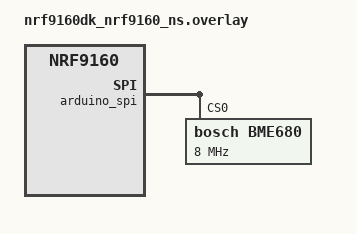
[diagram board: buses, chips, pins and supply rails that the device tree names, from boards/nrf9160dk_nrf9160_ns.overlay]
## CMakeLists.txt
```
#
# Copyright (c) 2023 Nordic Semiconductor
#
# SPDX-License-Identifier: LicenseRef-Nordic-5-Clause
#

cmake_minimum_required(VERSION 3.20.0)

find_package(Zephyr REQUIRED HINTS $ENV{ZEPHYR_BASE})
project(bme68x)

FILE(GLOB app_sources src/*.c)
# NORDIC SDK APP START
target_sources(app PRIVATE ${app_sources})
# NORDIC SDK APP END
```

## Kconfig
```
#
# Copyright (c) 2023 Nordic Semiconductor
#
# SPDX-License-Identifier: LicenseRef-Nordic-5-Clause
#

menu "Zephyr"
source "Kconfig.zephyr"
endmenu

config APP_TRIGGER
	bool "Print sensor values on trigger"
	default y

module = APP
module-str = APP
source "subsys/logging/Kconfig.template.log_config"
```

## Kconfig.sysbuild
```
#
# Copyright (c) 2025 Nordic Semiconductor ASA
#
# SPDX-License-Identifier: LicenseRef-Nordic-5-Clause
#

config PARTITION_MANAGER
	default y if BOARD_THINGY53

source "share/sysbuild/Kconfig"
```

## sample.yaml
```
sample:
  name: BME68X Sensor Sample
tests:
  sample.sensor.bme68x.i2c:
    sysbuild: true
    depends_on: i2c
    harness: sensor
    integration_platforms:
      - thingy91/nrf9160/ns
      - thingy53/nrf5340/cpuapp
    platform_allow:
      - thingy91/nrf9160
      - thingy91/nrf9160/ns
      - thingy53/nrf5340/cpuapp
      - thingy53/nrf5340/cpuapp/ns
    tags:
      - sensors
      - sysbuild
      - ci_samples_sensor
  sample.sensor.bme68x.polling:
    sysbuild: true
    depends_on: i2c
    integration_platforms:
      - thingy91/nrf9160/ns
      - thingy53/nrf5340/cpuapp
    extra_args: CONFIG_APP_TRIGGER=n
    platform_allow:
      - thingy91/nrf9160
      - thingy91/nrf9160/ns
      - thingy53/nrf5340/cpuapp
      - thingy53/nrf5340/cpuapp/ns
    tags:
      - sensors
      - sysbuild
      - ci_samples_sensor
    harness: console
    harness_config:
      type: multi_line
      ordered: true
      regex:
        - "(\\d+\\.\\d+); press: (\\d+\\.\\d+); humidity: (\\d+\\.\\d+); iaq: (\\\
        d+)"
  sample.sensor.bme68x.spi:
    sysbuild: true
    depends_on: spi
    harness: sensor
    platform_allow: >-
      nrf9160dk/nrf9160/ns
    tags:
      - sensors
      - sysbuild
      - ci_samples_sensor
```

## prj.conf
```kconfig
#
# Copyright (c) 2023 Nordic Semiconductor
#
# SPDX-License-Identifier: LicenseRef-Nordic-5-Clause
#

CONFIG_SENSOR=y
CONFIG_SENSOR_INFO=y

CONFIG_BME680=n
CONFIG_BME68X_IAQ=y

# Settings - Used to store real-time device configuration to flash.
CONFIG_SETTINGS=y
CONFIG_SETTINGS_FCB=y
CONFIG_FCB=y
CONFIG_FLASH=y
CONFIG_FLASH_PAGE_LAYOUT=y
CONFIG_FLASH_MAP=y
CONFIG_STREAM_FLASH=y
CONFIG_MPU_ALLOW_FLASH_WRITE=y

CONFIG_LOG=y
CONFIG_CONSOLE=y

CONFIG_ASSERT=y
CONFIG_REBOOT=y
CONFIG_FPU=y
```

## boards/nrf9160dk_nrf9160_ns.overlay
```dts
/*
 * Copyright (c) 2023 Nordic Semiconductor ASA
 *
 * SPDX-License-Identifier: LicenseRef-Nordic-5-Clause
 */
&arduino_spi {
	status = "okay";

	bme680@0 {
		compatible = "bosch,bme680";
		reg = <0x0>;
		spi-max-frequency = <DT_FREQ_M(8)>;
	};
};
```

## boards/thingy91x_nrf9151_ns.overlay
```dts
&bme680 {
	status = "okay";
};
```

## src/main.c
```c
/*
 * Copyright (c) 2023 Nordic Semiconductor ASA.
 *
 * SPDX-License-Identifier: LicenseRef-Nordic-5-Clause
 */

#include <zephyr/kernel.h>
#include <zephyr/device.h>
#include <zephyr/drivers/sensor.h>
#include <stdio.h>
#include <zephyr/sys/__assert.h>
#include <drivers/bme68x_iaq.h>

#include <zephyr/logging/log.h>
LOG_MODULE_REGISTER(app, CONFIG_APP_LOG_LEVEL);

#if defined(CONFIG_APP_TRIGGER)
const struct sensor_trigger trig = {
	.chan = SENSOR_CHAN_ALL,
	.type = SENSOR_TRIG_TIMER,
};

static void trigger_handler(const struct device *dev, const struct sensor_trigger *trig)
{
	struct sensor_value temp, press, humidity, iaq, co2, voc;

	sensor_sample_fetch(dev);
	sensor_channel_get(dev, SENSOR_CHAN_AMBIENT_TEMP, &temp);
	sensor_channel_get(dev, SENSOR_CHAN_PRESS, &press);
	sensor_channel_get(dev, SENSOR_CHAN_HUMIDITY, &humidity);
	sensor_channel_get(dev, SENSOR_CHAN_CO2, &co2);
	sensor_channel_get(dev, SENSOR_CHAN_VOC, &voc);
	sensor_channel_get(dev, SENSOR_CHAN_IAQ, &iaq);

	LOG_INF("temp: %d.%06d; press: %d.%06d; humidity: %d.%06d; iaq: %d; CO2: %d.%06d; VOC: "
		"%d.%06d",
		temp.val1, temp.val2, press.val1, press.val2, humidity.val1, humidity.val2,
		iaq.val1, co2.val1, co2.val2, voc.val1, voc.val2);
};
#endif /* defined(CONFIG_APP_TRIGGER) */

int main(void)
{
	const struct device *const dev = DEVICE_DT_GET_ANY(bosch_bme680);

	LOG_INF("App started");

	k_sleep(K_SECONDS(5));

	if (dev == NULL) {
		LOG_ERR("no device found");
		return 0;
	}
	if (!device_is_ready(dev)) {
		LOG_ERR("device is not ready");
		return 0;
	}

#if defined(CONFIG_APP_TRIGGER)
	int ret = sensor_trigger_set(dev, &trig, trigger_handler);

	if (ret) {
		LOG_ERR("couldn't set trigger");
		return 0;
	}
#else
	while (1) {
		struct sensor_value temp, press, humidity, iaq, co2, voc;

		sensor_sample_fetch(dev);
		sensor_channel_get(dev, SENSOR_CHAN_AMBIENT_TEMP, &temp);
		sensor_channel_get(dev, SENSOR_CHAN_PRESS, &press);
		sensor_channel_get(dev, SENSOR_CHAN_HUMIDITY, &humidity);
		sensor_channel_get(dev, SENSOR_CHAN_IAQ, &iaq);
		sensor_channel_get(dev, SENSOR_CHAN_CO2, &co2);
		sensor_channel_get(dev, SENSOR_CHAN_VOC, &voc);

		LOG_INF("temp: %d.%06d; press: %d.%06d; humidity: %d.%06d; iaq: %d; CO2: %d.%06d; "
			"VOC: %d.%06d",
			temp.val1, temp.val2, press.val1, press.val2, humidity.val1, humidity.val2,
			iaq.val1, co2.val1, co2.val2, voc.val1, voc.val2);
		k_sleep(K_MSEC(1000));
	}
#endif /* defined(CONFIG_APP_TRIGGER) */

	return 0;
}
```
